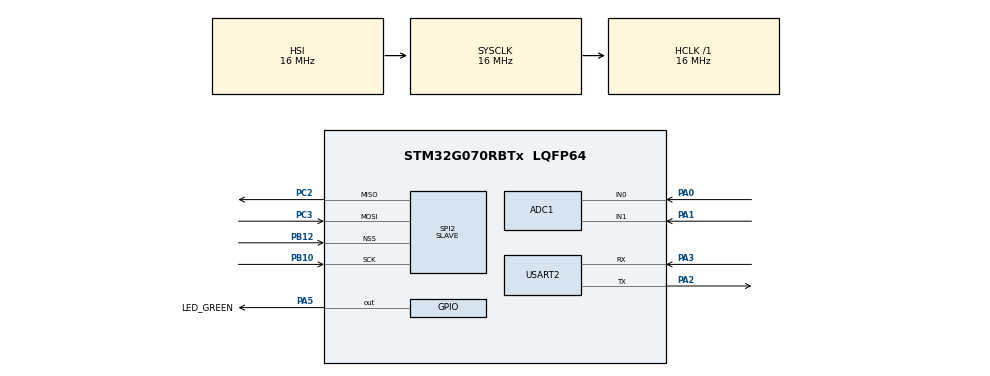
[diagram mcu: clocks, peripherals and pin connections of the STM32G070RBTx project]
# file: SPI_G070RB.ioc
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ADC1.Channel-3\#ChannelRegularConversion=ADC_CHANNEL_1
ADC1.ClockPrescaler=ADC_CLOCK_ASYNC_DIV10
ADC1.ContinuousConvMode=DISABLE
ADC1.DiscontinuousConvMode=ENABLE
ADC1.EOCSelection=ADC_EOC_SINGLE_CONV
ADC1.ExternalTrigConv=ADC_SOFTWARE_START
ADC1.NbrOfConversion=2
ADC1.NbrOfConversionFlag=1
ADC1.Rank-3\#ChannelRegularConversion=2
ADC1.SamplingTime-3\#ChannelRegularConversion=ADC_SAMPLINGTIME_COMMON_1
ADC1.SamplingTimeCommon1=ADC_SAMPLETIME_160CYCLES_5
ADC1.SamplingTimeCommon2=ADC_SAMPLETIME_79CYCLES_5
ADC1.SelectedChannel=ADC_CHANNEL_0|ADC_CHANNEL_1
ADC1.Sequencer=FULLY_CONFIGURABLE
ADC1.master=1
Mcu.Family=STM32G0
Mcu.Name=STM32G070RBTx
Mcu.Package=LQFP64
PA0.Mode=IN0
PA0.Signal=ADC1_IN0
PA1.Mode=IN1
PA1.Signal=ADC1_IN1
PA13.GPIO_Label=TMS
PA13.Mode=Serial_Wire
PA13.Signal=SYS_SWDIO
PA14-BOOT0.GPIO_Label=TCK
PA14-BOOT0.Mode=Serial_Wire
PA14-BOOT0.Signal=SYS_SWCLK
PA2.GPIO_PuPd=GPIO_PULLUP
PA2.Mode=Asynchronous
PA2.Signal=USART2_TX
PA3.GPIO_PuPd=GPIO_PULLUP
PA3.Mode=Asynchronous
PA3.Signal=USART2_RX
PA5.GPIO_Label=LED_GREEN
PA5.GPIO_Speed=GPIO_SPEED_FREQ_HIGH
PA5.Signal=GPIO_Output
PB10.Mode=Full_Duplex_Slave
PB10.Signal=SPI2_SCK
PB12.Mode=NSS_Signal_Hard_Input
PB12.Signal=SPI2_NSS
PC13.Mode=SYS_WakeUp1
PC13.Signal=SYS_WKUP2
PC14-OSC32_IN\ (PC14).Mode=LSE-External-Oscillator
PC14-OSC32_IN\ (PC14).Signal=RCC_OSC32_IN
PC15-OSC32_OUT\ (PC15).Mode=LSE-External-Oscillator
PC15-OSC32_OUT\ (PC15).Signal=RCC_OSC32_OUT
PC2.Mode=Full_Duplex_Slave
PC2.Signal=SPI2_MISO
PC3.Mode=Full_Duplex_Slave
PC3.Signal=SPI2_MOSI
PF0-OSC_IN\ (PF0).GPIO_Label=MCO
PF0-OSC_IN\ (PF0).Mode=HSE-External-Clock-Source
PF0-OSC_IN\ (PF0).Signal=RCC_OSC_IN
ProjectManager.HeapSize=0x200
ProjectManager.StackSize=0x400
ProjectManager.TargetToolchain=Makefile
RCC.AHBFreq_Value=16000000
RCC.CortexFreq_Value=16000000
RCC.EXTERNAL_CLOCK_VALUE=12288000
RCC.HCLKFreq_Value=16000000
RCC.HSE_VALUE=8000000
RCC.HSI_VALUE=16000000
RCC.PLLP=RCC_PLLP_DIV4
RCC.SYSCLKFreq_VALUE=16000000
RCC.VCOOutputFreq_Value=128000000
SPI2.DataSize=SPI_DATASIZE_8BIT
SPI2.Direction=SPI_DIRECTION_2LINES
SPI2.Mode=SPI_MODE_SLAVE
SPI2.VirtualNSS=VM_NSSHARD
SPI2.VirtualType=VM_SLAVE
USART2.VirtualMode-Asynchronous=VM_ASYNC
USART2.WordLength=WORDLENGTH_8B
board=NUCLEO-G070RB

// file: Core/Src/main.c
/* USER CODE BEGIN Header */
/**
  ******************************************************************************
  * @file           : main.c
  * @brief          : Main program body
  ******************************************************************************
  * @attention
  *
  * Copyright (c) 2025 STMicroelectronics.
  * All rights reserved.
  *
  * This software is licensed under terms that can be found in the LICENSE file
  * in the root directory of this software component.
  * If no LICENSE file comes with this software, it is provided AS-IS.
  *
  ******************************************************************************
  */
/* USER CODE END Header */
#include "main.h"

/* USER CODE BEGIN Includes */
#include "string.h"
#include "stdio.h"
/* USER CODE END Includes */

/* USER CODE BEGIN PM */
#define SPI_BUFFER_SIZE 10

uint8_t spi_tx_buffer = 0x15; // Data to send
uint8_t spi_rx_buffer[SPI_BUFFER_SIZE] = {0}; // Buffer to store received data
void HAL_SPI_TxRxCpltCallback(SPI_HandleTypeDef *hspi) {
    if (hspi->Instance == SPI1) {
        printf("SPI transaction complete. Received data: ");
        for (int i = 0; i < SPI_BUFFER_SIZE; i++) {
            printf("%02X ", spi_rx_buffer[i]); // Print received data
        }
        printf("\n");
    }
}

/* USER CODE END PM */

ADC_HandleTypeDef hadc1;

SPI_HandleTypeDef hspi2;

UART_HandleTypeDef huart2;
int _write(int file, char *data, int len) {
    HAL_UART_Transmit(&huart2, (uint8_t *)data, len, HAL_MAX_DELAY); // Redirect printf to UART
    return len;
}
/* USER CODE BEGIN PV */
uint16_t adc_0=0;
uint16_t adc_1=0;
uint8_t rawValues[2];

char msg[100];
/* USER CODE END PV */

void SystemClock_Config(void);
static void MX_GPIO_Init(void);
static void MX_ADC1_Init(void);
static void MX_SPI2_Init(void);
static void MX_USART2_UART_Init(void);

/* USER CODE BEGIN 0 */

uint8_t convCompleted=0;
void HAL_ADC_ConvCpltCallback(ADC_HandleTypeDef *hadc)
{
  convCompleted=1;

}
/* USER CODE END 0 */

int main(void)
{

  /* MCU Configuration--------------------------------------------------------*/

  /* Reset of all peripherals, Initializes the Flash interface and the Systick. */
  HAL_Init();

  /* Configure the system clock */
  SystemClock_Config();

  /* Initialize all configured peripherals */
  MX_GPIO_Init();
  MX_ADC1_Init();
  MX_SPI2_Init();
  MX_USART2_UART_Init();
  /* USER CODE BEGIN 2 */
  printf("Slave ready\n");

  /* USER CODE END 2 */

  /* Infinite loop */
  while (1)
  {

    /* USER CODE BEGIN 3 */
    HAL_SPI_Transmit(&hspi2, &spi_tx_buffer, 1,100); // Start SPI transaction
    HAL_Delay(100); // Simulate idle state

  }
  /* USER CODE END 3 */
}

void SystemClock_Config(void)
{
  RCC_OscInitTypeDef RCC_OscInitStruct = {0};
  RCC_ClkInitTypeDef RCC_ClkInitStruct = {0};

  /** Configure the main internal regulator output voltage
  */
  HAL_PWREx_ControlVoltageScaling(PWR_REGULATOR_VOLTAGE_SCALE1);

  /** Initializes the RCC Oscillators according to the specified parameters
  * in the RCC_OscInitTypeDef structure.
  */
  RCC_OscInitStruct.OscillatorType = RCC_OSCILLATORTYPE_HSI;
  RCC_OscInitStruct.HSIState = RCC_HSI_ON;
  RCC_OscInitStruct.HSIDiv = RCC_HSI_DIV1;
  RCC_OscInitStruct.HSICalibrationValue = RCC_HSICALIBRATION_DEFAULT;
  RCC_OscInitStruct.PLL.PLLState = RCC_PLL_NONE;
  if (HAL_RCC_OscConfig(&RCC_OscInitStruct) != HAL_OK)
  {
    Error_Handler();
  }

  /** Initializes the CPU, AHB and APB buses clocks
  */
  RCC_ClkInitStruct.ClockType = RCC_CLOCKTYPE_HCLK|RCC_CLOCKTYPE_SYSCLK
                              |RCC_CLOCKTYPE_PCLK1;
  RCC_ClkInitStruct.SYSCLKSource = RCC_SYSCLKSOURCE_HSI;
  RCC_ClkInitStruct.AHBCLKDivider = RCC_SYSCLK_DIV1;
  RCC_ClkInitStruct.APB1CLKDivider = RCC_HCLK_DIV1;

  if (HAL_RCC_ClockConfig(&RCC_ClkInitStruct, FLASH_LATENCY_0) != HAL_OK)
  {
    Error_Handler();
  }
}

static void MX_ADC1_Init(void)
{

  ADC_ChannelConfTypeDef sConfig = {0};

  /** Configure the global features of the ADC (Clock, Resolution, Data Alignment and number of conversion)
  */
  hadc1.Instance = ADC1;
  hadc1.Init.ClockPrescaler = ADC_CLOCK_ASYNC_DIV10;
  hadc1.Init.Resolution = ADC_RESOLUTION_12B;
  hadc1.Init.DataAlign = ADC_DATAALIGN_RIGHT;
  hadc1.Init.ScanConvMode = ADC_SCAN_ENABLE;
  hadc1.Init.EOCSelection = ADC_EOC_SINGLE_CONV;
  hadc1.Init.LowPowerAutoWait = DISABLE;
  hadc1.Init.LowPowerAutoPowerOff = DISABLE;
  hadc1.Init.ContinuousConvMode = DISABLE;
  hadc1.Init.NbrOfConversion = 2;
  hadc1.Init.DiscontinuousConvMode = ENABLE;
  hadc1.Init.ExternalTrigConv = ADC_SOFTWARE_START;
  hadc1.Init.ExternalTrigConvEdge = ADC_EXTERNALTRIGCONVEDGE_NONE;
  hadc1.Init.DMAContinuousRequests = DISABLE;
  hadc1.Init.Overrun = ADC_OVR_DATA_PRESERVED;
  hadc1.Init.SamplingTimeCommon1 = ADC_SAMPLETIME_160CYCLES_5;
  hadc1.Init.SamplingTimeCommon2 = ADC_SAMPLETIME_79CYCLES_5;
  hadc1.Init.OversamplingMode = DISABLE;
  hadc1.Init.TriggerFrequencyMode = ADC_TRIGGER_FREQ_HIGH;
  if (HAL_ADC_Init(&hadc1) != HAL_OK)
  {
    Error_Handler();
  }

  /** Configure Regular Channel
  */
  sConfig.Channel = ADC_CHANNEL_1;
  sConfig.Rank = ADC_REGULAR_RANK_2;
  sConfig.SamplingTime = ADC_SAMPLINGTIME_COMMON_1;
  if (HAL_ADC_ConfigChannel(&hadc1, &sConfig) != HAL_OK)
  {
    Error_Handler();
  }

}

static void MX_SPI2_Init(void)
{

  /* SPI2 parameter configuration*/
  hspi2.Instance = SPI2;
  hspi2.Init.Mode = SPI_MODE_SLAVE;
  hspi2.Init.Direction = SPI_DIRECTION_2LINES;
  hspi2.Init.DataSize = SPI_DATASIZE_8BIT;
  hspi2.Init.CLKPolarity = SPI_POLARITY_LOW;
  hspi2.Init.CLKPhase = SPI_PHASE_1EDGE;
  hspi2.Init.NSS = SPI_NSS_HARD_INPUT;
  hspi2.Init.FirstBit = SPI_FIRSTBIT_MSB;
  hspi2.Init.TIMode = SPI_TIMODE_DISABLE;
  hspi2.Init.CRCCalculation = SPI_CRCCALCULATION_DISABLE;
  hspi2.Init.CRCPolynomial = 7;
  hspi2.Init.CRCLength = SPI_CRC_LENGTH_DATASIZE;
  hspi2.Init.NSSPMode = SPI_NSS_PULSE_DISABLE;
  if (HAL_SPI_Init(&hspi2) != HAL_OK)
  {
    Error_Handler();
  }

}

static void MX_USART2_UART_Init(void)
{

  huart2.Instance = USART2;
  huart2.Init.BaudRate = 115200;
  huart2.Init.WordLength = UART_WORDLENGTH_8B;
  huart2.Init.StopBits = UART_STOPBITS_1;
  huart2.Init.Parity = UART_PARITY_NONE;
  huart2.Init.Mode = UART_MODE_TX_RX;
  huart2.Init.HwFlowCtl = UART_HWCONTROL_NONE;
  huart2.Init.OverSampling = UART_OVERSAMPLING_16;
  huart2.Init.OneBitSampling = UART_ONE_BIT_SAMPLE_DISABLE;
  huart2.Init.ClockPrescaler = UART_PRESCALER_DIV1;
  huart2.AdvancedInit.AdvFeatureInit = UART_ADVFEATURE_NO_INIT;
  if (HAL_UART_Init(&huart2) != HAL_OK)
  {
    Error_Handler();
  }
  if (HAL_UARTEx_SetTxFifoThreshold(&huart2, UART_TXFIFO_THRESHOLD_1_8) != HAL_OK)
  {
    Error_Handler();
  }
  if (HAL_UARTEx_SetRxFifoThreshold(&huart2, UART_RXFIFO_THRESHOLD_1_8) != HAL_OK)
  {
    Error_Handler();
  }
  if (HAL_UARTEx_DisableFifoMode(&huart2) != HAL_OK)
  {
    Error_Handler();
  }

}

static void MX_GPIO_Init(void)
{
  GPIO_InitTypeDef GPIO_InitStruct = {0};

  /* GPIO Ports Clock Enable */
  __HAL_RCC_GPIOC_CLK_ENABLE();
  __HAL_RCC_GPIOF_CLK_ENABLE();
  __HAL_RCC_GPIOA_CLK_ENABLE();
  __HAL_RCC_GPIOB_CLK_ENABLE();

  /*Configure GPIO pin Output Level */
  HAL_GPIO_WritePin(LED_GREEN_GPIO_Port, LED_GREEN_Pin, GPIO_PIN_RESET);

  /*Configure GPIO pin : LED_GREEN_Pin */
  GPIO_InitStruct.Pin = LED_GREEN_Pin;
  GPIO_InitStruct.Mode = GPIO_MODE_OUTPUT_PP;
  GPIO_InitStruct.Pull = GPIO_NOPULL;
  GPIO_InitStruct.Speed = GPIO_SPEED_FREQ_HIGH;
  HAL_GPIO_Init(LED_GREEN_GPIO_Port, &GPIO_InitStruct);

}

void Error_Handler(void)
{
  __disable_irq();
  while (1)
  {
  }
}
